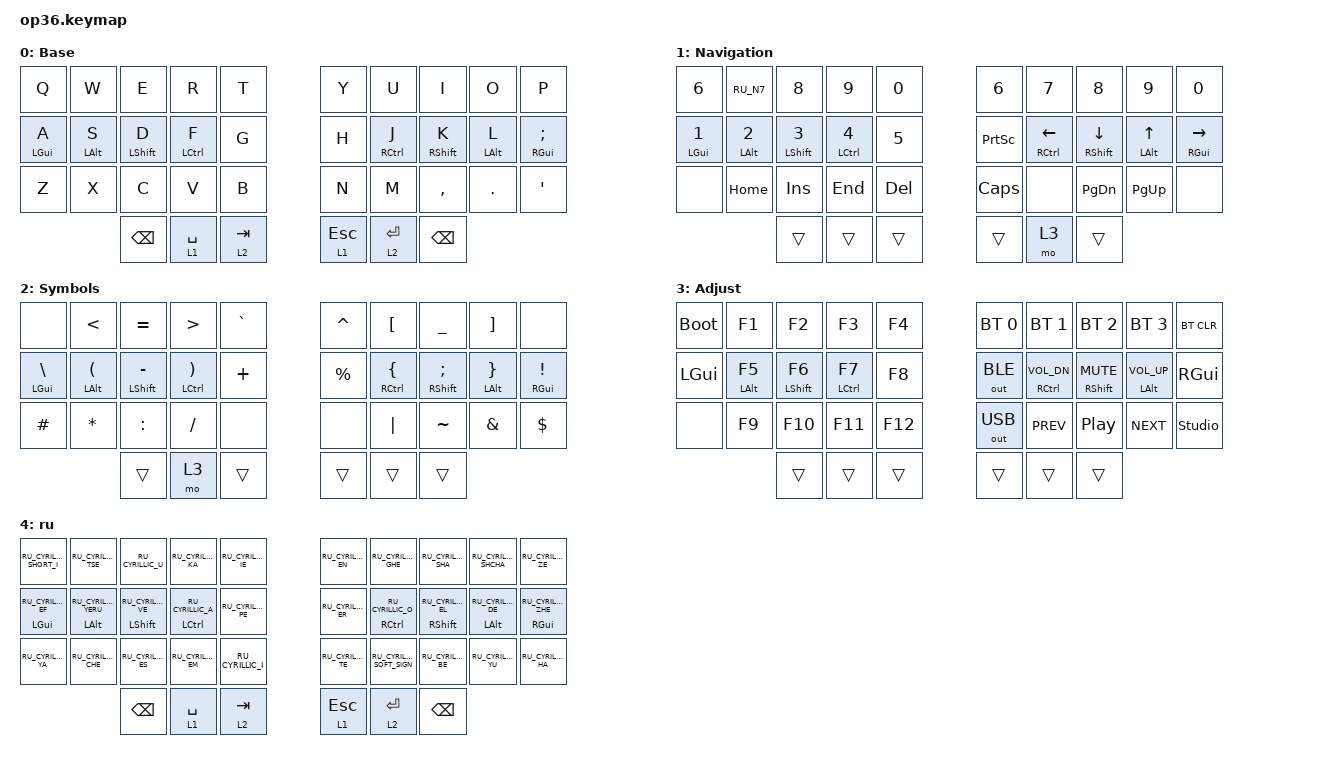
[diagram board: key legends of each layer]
#include "keys_ru.h"
#include <behaviors.dtsi>
#include <dt-bindings/zmk/bt.h>
#include <dt-bindings/zmk/keys.h>
#include <dt-bindings/zmk/outputs.h>

&mt {
    quick-tap-ms = <200>;
    flavor = "tap-preferred";
    require-prior-idle-ms = <125>;
};

/ {
    behaviors {
        hml: home_row_mod_left {
            compatible = "zmk,behavior-hold-tap";
            #binding-cells = <2>;
            flavor = "balanced";
            require-prior-idle-ms = <150>;
            tapping-term-ms = <280>;
            quick-tap-ms = <175>;
            bindings = <&kp>, <&kp>;

            hold-trigger-key-positions = <5 6 7 8 9 15 16 17 18 19 25 26 27 28 29 33 34 35>;
            hold-trigger-on-release;
        };

        hmr: home_row_mod_right {
            compatible = "zmk,behavior-hold-tap";
            #binding-cells = <2>;
            flavor = "balanced";
            require-prior-idle-ms = <150>;
            tapping-term-ms = <280>;
            quick-tap-ms = <175>;
            bindings = <&kp>, <&kp>;

            hold-trigger-key-positions = <0 1 2 3 4 10 11 12 13 14 20 21 22 23 24 30 31 32>;
            hold-trigger-on-release;
        };
    };

    combos {
        compatible = "zmk,combos";

        Lang_En {
            bindings = <&switch_to_en>;
            key-positions = <13 14>;
        };

        Lang_Ru {
            bindings = <&switch_to_ru>;
            key-positions = <15 16>;
        };

        en_comma {
            bindings = <&kp COMMA>;
            key-positions = <16 17>;
            layers = <0>;
        };

        en_semi {
            bindings = <&kp SEMI>;
            key-positions = <17 18>;
            layers = <0>;
        };

        en_backslash {
            bindings = <&kp BACKSLASH>;
            key-positions = <18 19>;
            layers = <0>;
        };

        en_dot {
            bindings = <&kp LS(DOT)>;
            key-positions = <13 12>;
            layers = <0>;
        };

        en_colon {
            bindings = <&kp COLON>;
            key-positions = <12 11>;
            layers = <0>;
        };

        en_slash {
            bindings = <&kp SLASH>;
            key-positions = <10 11>;
        };

        en_single_quote {
            bindings = <&kp LS(SQT)>;
            key-positions = <3 4>;
            layers = <0>;
        };

        en_double_quote {
            bindings = <&kp DQT>;
            key-positions = <5 6>;
            layers = <0>;
        };

        en_excl {
            bindings = <&kp EXCL>;
            key-positions = <6 7>;
            layers = <0>;
        };

        en_quest {
            bindings = <&kp QMARK>;
            key-positions = <3 2>;
        };

        en_plus {
            bindings = <&kp PLUS>;
            key-positions = <2 1>;
            layers = <0>;
        };

        en_munus {
            bindings = <&kp MINUS>;
            key-positions = <7 8>;
            layers = <0>;
        };

        en_left_paren {
            bindings = <&kp LPAR>;
            key-positions = <3 1>;
            layers = <0>;
        };

        en_right_paren {
            bindings = <&kp RPAR>;
            key-positions = <4 1>;
            layers = <0>;
        };
    };

    macros {
        en: en {
            compatible = "zmk,behavior-macro-one-param";
            #binding-cells = <1>;
            bindings =
                <&lang_en &macro_param_1to1 &kp MACRO_PLACEHOLDER &lang_ru>,
                <&macro_press>;

            label = "EN";
        };

        ru: ru {
            compatible = "zmk,behavior-macro-one-param";
            #binding-cells = <1>;
            bindings = <&lang_ru &macro_param_1to1 &kp MACRO_PLACEHOLDER &lang_en>;
            label = "RU";
        };

        lang_en: lang_en {
            compatible = "zmk,behavior-macro";
            #binding-cells = <0>;
            bindings = <&kp LA(LS(NUMBER_8))>;
            label = "LANG_EN";
        };

        lang_ru: lang_ru {
            compatible = "zmk,behavior-macro";
            #binding-cells = <0>;
            bindings = <&kp LA(LS(NUMBER_9))>;
            label = "LANG_RU";
        };

        switch_to_ru: switch_to_ru {
            compatible = "zmk,behavior-macro";
            #binding-cells = <0>;
            bindings = <&lang_ru &to 4>;
            label = "SWITCH_TO_RU";
        };

        switch_to_en: switch_to_en {
            compatible = "zmk,behavior-macro";
            #binding-cells = <0>;
            bindings = <&lang_en &to 0>;
            label = "SWITCH_TO_EN";
        };
    };

    keymap {
        compatible = "zmk,keymap";

        base {
            bindings = <
  &kp Q        &kp W        &kp E         &kp R          &kp T                                &kp Y        &kp U          &kp I         &kp O        &kp P
  &hml LGUI A  &hml LALT S  &hml LSHFT D  &hml LCTRL F   &kp G                                &kp H        &hmr RCTRL J   &hmr RSHFT K  &hmr LALT L  &hmr RGUI SEMICOLON
  &kp Z        &kp X        &kp C         &kp V          &kp B                                &kp N        &kp M          &kp COMMA     &kp DOT      &kp SQT
                                          &kp BACKSPACE  &lt 1 SPACE  &lt 2 TAB    &lt 1 ESC  &lt 2 ENTER  &kp BACKSPACE
            >;

            display-name = "Base";
        };

        nav {
            bindings = <
  &kp N6              &kp RU_N7               &kp N8               &kp N9               &kp N0                          &kp N6           &kp N7           &kp N8           &kp N9        &kp N0
  &hml LGUI NUMBER_1  &hml LEFT_ALT NUMBER_2  &hml LSHFT NUMBER_3  &hml LCTRL NUMBER_4  &kp NUMBER_5                    &kp PRINTSCREEN  &hmr RCTRL LEFT  &hmr RSHFT DOWN  &hmr LALT UP  &hmr RGUI RIGHT
  &none               &kp HOME                &kp INS              &kp END              &kp DELETE                      &kp CAPS         &none            &kp PG_DN        &kp PG_UP     &none
                                                                   &trans               &trans        &trans    &trans  &mo 3            &trans
            >;

            display-name = "Navigation";
        };

        sym {
            bindings = <
  &none           &kp LT          &kp EQUAL         &kp GT           &kp GRAVE                    &kp CARET  &kp LBKT         &kp UNDER        &kp RBKT        &none
  &hml LGUI BSLH  &hml LALT LPAR  &hml LSHFT MINUS  &hml LCTRL RPAR  &kp PLUS                     &kp PRCNT  &hmr RCTRL LBRC  &hmr RSHFT SEMI  &hmr LALT RBRC  &hmr RGUI EXCL
  &kp HASH        &kp STAR        &kp COLON         &kp FSLH         &none                        &none      &kp PIPE         &kp TILDE        &kp AMPS        &kp DLLR
                                                    &trans           &mo 3      &trans    &trans  &trans     &trans
            >;

            display-name = "Symbols";
        };

        adj {
            bindings = <
  &bootloader  &kp F1        &kp F2         &kp F3         &kp F4                     &bt BT_SEL 0  &bt BT_SEL 1         &bt BT_SEL 2       &bt BT_SEL 3        &bt BT_CLR
  &kp LGUI     &hml LALT F5  &hml LSHFT F6  &hml LCTRL F7  &kp F8                     &out OUT_BLE  &hmr RCTRL C_VOL_DN  &hmr RSHFT C_MUTE  &hmr LALT C_VOL_UP  &kp RGUI
  &none        &kp F9        &kp F10        &kp F11        &kp F12                    &out OUT_USB  &kp C_PREV           &kp C_PP           &kp C_NEXT          &studio_unlock
                                            &trans         &trans   &trans    &trans  &trans        &trans
            >;

            display-name = "Adjust";
        };

        ru {
            bindings = <
  &kp RU_CYRILLIC_SHORT_I   &kp RU_CYRILLIC_TSE         &kp RU_CYRILLIC_U          &kp RU_CYRILLIC_KA        &kp RU_CYRILLIC_IE                          &kp RU_CYRILLIC_EN  &kp RU_CYRILLIC_GHE        &kp RU_CYRILLIC_SHA        &kp RU_CYRILLIC_SHCHA     &kp RU_CYRILLIC_ZE
  &hml LGUI RU_CYRILLIC_EF  &hml LALT RU_CYRILLIC_YERU  &hml LSHFT RU_CYRILLIC_VE  &hml LCTRL RU_CYRILLIC_A  &kp RU_CYRILLIC_PE                          &kp RU_CYRILLIC_ER  &hmr RCTRL RU_CYRILLIC_O   &hmr RSHFT RU_CYRILLIC_EL  &hmr LALT RU_CYRILLIC_DE  &hmr RGUI RU_CYRILLIC_ZHE
  &kp RU_CYRILLIC_YA        &kp RU_CYRILLIC_CHE         &kp RU_CYRILLIC_ES         &kp RU_CYRILLIC_EM        &kp RU_CYRILLIC_I                           &kp RU_CYRILLIC_TE  &kp RU_CYRILLIC_SOFT_SIGN  &kp RU_CYRILLIC_BE         &kp RU_CYRILLIC_YU        &kp RU_CYRILLIC_HA
                                                                                   &kp BACKSPACE             &lt 1 SPACE         &lt 2 TAB    &lt 1 ESC  &lt 2 ENTER         &kp BACKSPACE
            >;
        };
    };
};
